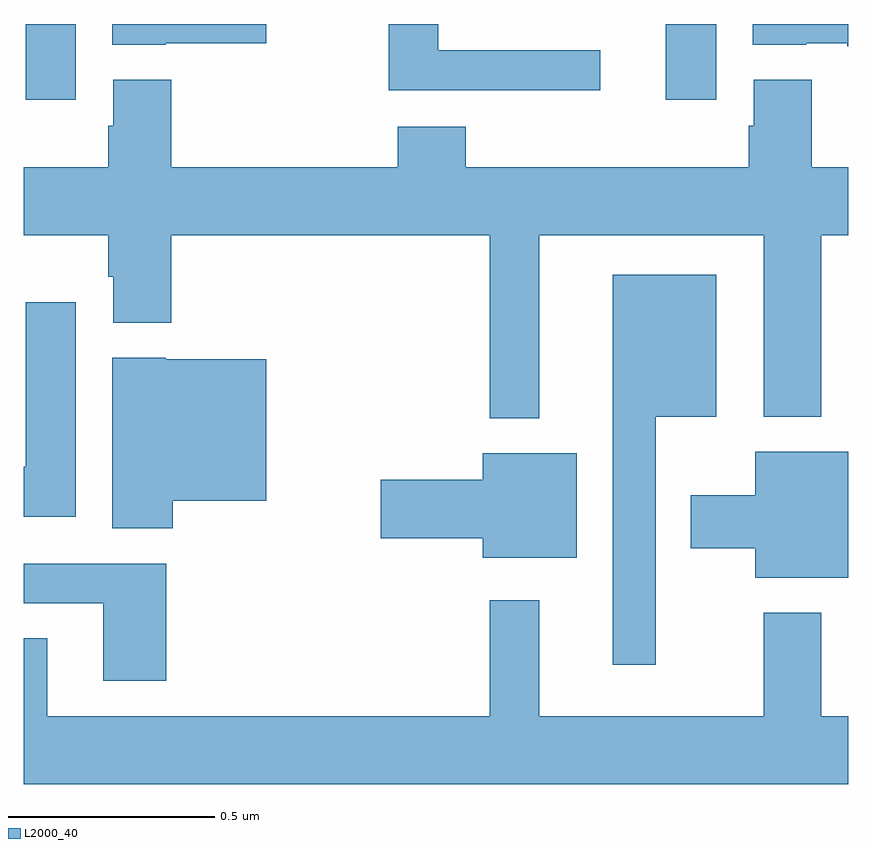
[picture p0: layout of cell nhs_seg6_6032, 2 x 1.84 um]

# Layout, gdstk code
import gdstk
lib = gdstk.Library(unit=1e-6, precision=1e-09)
def R(c, l, rs):  # rectangles x0, y0, x1, y1
    for r in rs: c.add(gdstk.rectangle(r[:2], r[2:], *l))
def P(c, l, *ps):  # polygons
    for p in ps: c.add(gdstk.Polygon(p, *l))
L2000_40 = (2000, 40)

nhs_seg6_6032 = lib.new_cell('nhs_seg6_6032')
R(nhs_seg6_6032, L2000_40, [(190.004,962.316,190.126,962.5), (191.558,962.316,191.68,962.5)])
P(nhs_seg6_6032, L2000_40, [(192,962.5),(191.768,962.5),(191.768,962.45),(191.898,962.45),(191.898,962.453),(191.998,962.453),(191.998,962.446),(192,962.446)],
  [(191.398,962.436),(191.005,962.436),(191.005,962.5),(190.885,962.5),(190.885,962.339),(191.398,962.339)],
  [(190.344,962.453),(190.588,962.453),(190.588,962.5),(190.214,962.5),(190.214,962.45),(190.344,962.45)],
  [(191.251,961.988),(191.795,961.988),(191.795,961.547),(191.935,961.547),(191.935,961.988),(192,961.988),(192,962.152),(191.912,962.152),(191.912,962.365),(191.771,962.365),(191.771,962.253),(191.759,962.253),(191.759,962.152),(191.072,962.152),(191.072,962.251),(190.907,962.251),(190.907,962.152),(190.358,962.152),(190.358,962.365),(190.217,962.365),(190.217,962.253),(190.205,962.253),(190.205,962.152),(190,962.152),(190,961.988),(190.205,961.988),(190.205,961.887),(190.217,961.887),(190.217,961.775),(190.358,961.775),(190.358,961.988),(191.13,961.988),(191.13,961.544),(191.251,961.544)],
  [(191.533,961.547),(191.68,961.547),(191.68,961.891),(191.429,961.891),(191.429,960.945),(191.533,960.945)],
  [(190.126,961.825),(190.004,961.825),(190.004,961.426),(190,961.426),(190,961.304),(190.126,961.304)],
  [(190.361,961.343),(190.588,961.343),(190.588,961.687),(190.344,961.687),(190.344,961.69),(190.214,961.69),(190.214,961.276),(190.361,961.276)],
  [(192,961.462),(191.774,961.462),(191.774,961.357),(191.618,961.357),(191.618,961.228),(191.774,961.228),(191.774,961.157),(192,961.157)],
  [(191.341,961.459),(191.114,961.459),(191.114,961.394),(190.866,961.394),(190.866,961.252),(191.114,961.252),(191.114,961.205),(191.341,961.205)],
  [(190.346,961.191),(190,961.191),(190,961.095),(190.193,961.095),(190.193,960.906),(190.346,960.906)],
  [(192,960.82),(191.935,960.82),(191.935,961.072),(191.795,961.072),(191.795,960.82),(191.251,960.82),(191.251,961.102),(191.13,961.102),(191.13,960.82),(190.057,960.82),(190.057,961.01),(190,961.01),(190,960.656),(192,960.656)])

lib.write_gds('nhs_seg6_6032.gds')
